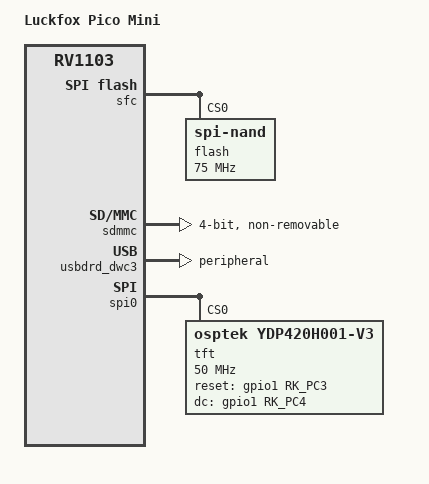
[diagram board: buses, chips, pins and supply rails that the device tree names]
// SPDX-License-Identifier: (GPL-2.0+ OR MIT)
/*
 * Copyright (c) 2023 Luckfox Electronics Co., Ltd.
 */

/dts-v1/;

#include "rv1103.dtsi"
#include "rv1106-evb.dtsi"
#include "rv1103-luckfox-pico-ipc.dtsi"

/ {
	model = "Luckfox Pico Mini";
	compatible = "rockchip,rv1103g-38x38-ipc-v10", "rockchip,rv1103";

	chosen {
		bootargs = "earlycon=uart8250,mmio32,0xff4c0000 console=tty0 console=ttyFIQ0 root=/dev/mmcblk1p7 rootwait snd_soc_core.prealloc_buffer_size_kbytes=16 coherent_pool=0";
	};
};

/**********SFC**********/
&sfc {
	status = "okay";
	flash@0 {
		compatible = "spi-nand";
		reg = <0>;
		spi-max-frequency = <75000000>;
		spi-rx-bus-width = <4>;
		spi-tx-bus-width = <1>;
	};
};

/**********SDMMC**********/
&sdmmc {
	max-frequency = <50000000>;
	no-mmc;
	bus-width = <4>;
	cap-mmc-highspeed;
	cap-sd-highspeed;
	disable-wp;
	
	//sdio
	cap-sdio-irq;
	non-removable;	
	no-1-8-v;
	supports-sdio;

	pinctrl-names = "default";
	pinctrl-0 = <&sdmmc0_clk &sdmmc0_cmd &sdmmc0_det &sdmmc0_bus4>;
	status = "okay";
};

/**********ETH**********/
&gmac {
	status = "disabled";
};

/**********USB**********/
&usbdrd_dwc3 {
	status = "okay";
	dr_mode = "peripheral";
};

&pinctrl {
	tft {
		tft_pins: tft_pins {
			rockchip,pins =
				/* tft_dc */
				<1 RK_PC3 RK_FUNC_GPIO &pcfg_pull_none>,
				/* tft_reset */
				<1 RK_PC4 RK_FUNC_GPIO &pcfg_pull_none>;
		};
	};
};

/**********SPI**********/
/* SPI0_M0 */
&spi0 {
	pinctrl-0 = <&spi0m0_clk &spi0m0_mosi &spi0m0_cs0>;
	status = "okay";

	spidev@0 {
		spi-max-frequency = <50000000>;
		status = "disabled";
	};

	fbtft@0 {
		status = "disabled";
	};

	tft: st7305@0 {
		#address-cells = <1>;
		#size-cells = <1>;

		pinctrl-names = "default";
		pinctrl-0 = <&tft_pins>;

		// compatible = "osptek,ydp154h008-v3";
		// compatible = "osptek,ydp213h001-v3";
		// compatible = "osptek,ydp290h001-v3";
		compatible = "osptek,ydp420h001-v3";

		spi-max-frequency = <50000000>;
		reg = <0>;

		reset-gpios = <&gpio1 RK_PC3 GPIO_ACTIVE_HIGH>;
		dc-gpios = <&gpio1 RK_PC4 GPIO_ACTIVE_HIGH>;

		status = "okay";
	};
};

/**********I2C**********/
/* I2C3_M1 */
&i2c3 {
	status = "disabled";
	clock-frequency = <100000>;
};

/**********UART**********/
/* UART3_M1 */
&uart3 {
	status = "disabled";
};

/* UART4_M1 */
&uart4 {
	status = "disabled";
};

/**********PWM**********/
/* PWM1_M0 */
&pwm1 {
	status = "disabled";
};
